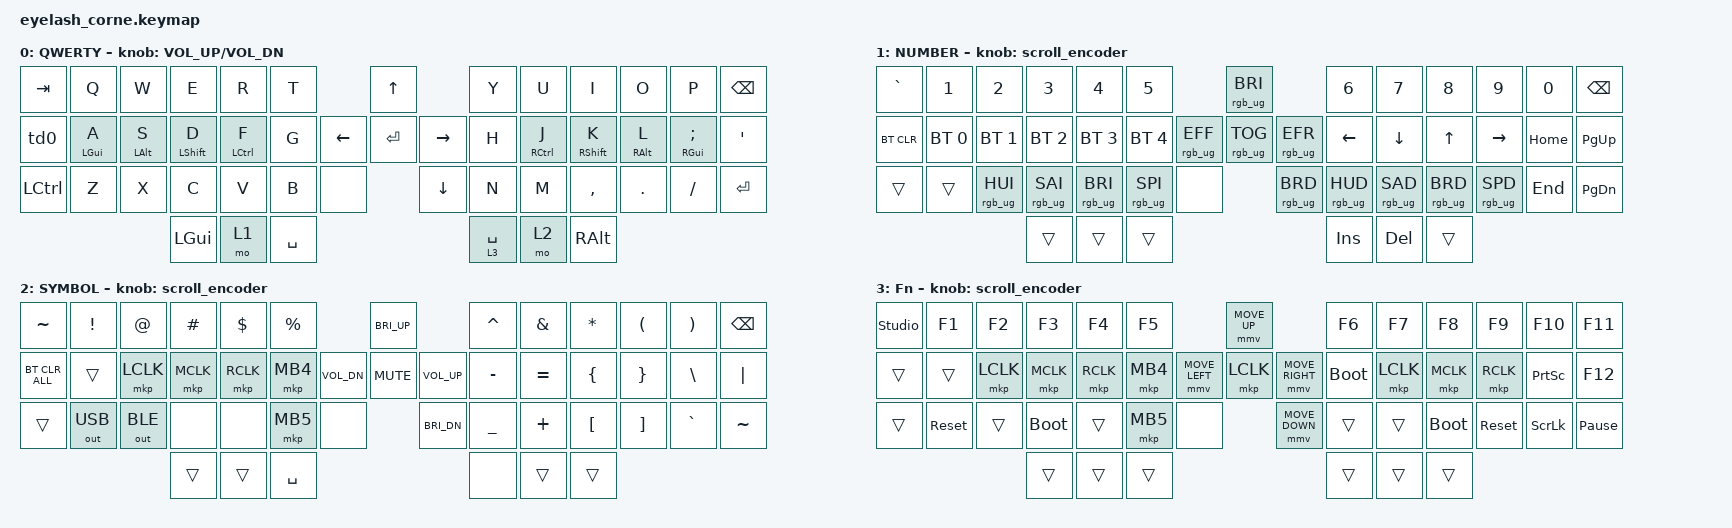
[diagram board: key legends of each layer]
#define ZMK_POINTING_DEFAULT_MOVE_VAL 1200  // 600
#define ZMK_POINTING_DEFAULT_SCRL_VAL 25   // 10

#include <input/processors.dtsi>
#include <zephyr/dt-bindings/input/input-event-codes.h>
#include <behaviors.dtsi>
#include <dt-bindings/zmk/bt.h>
#include <dt-bindings/zmk/keys.h>
#include <dt-bindings/zmk/outputs.h>
#include <dt-bindings/zmk/pointing.h>
#include <dt-bindings/zmk/rgb.h>

&mmv_input_listener { input-processors = <&zip_xy_scaler 2 1>; };

&msc_input_listener { input-processors = <&zip_scroll_scaler 2 1>; };

&msc {
    acceleration-exponent = <1>;      // 0
    time-to-max-speed-ms = <100>;       // 300
    delay-ms = <0>;                   // 0
};

&mmv {
    time-to-max-speed-ms = <500>;
    acceleration-exponent = <1>;
    trigger-period-ms = <16>;
};

&soft_off { hold-time-ms = <2000>; };

/ {
    behaviors {
        td0: td0 {
            compatible = "zmk,behavior-tap-dance";
            display-name = "Esc/Caps Lock Tap Dance";
            #binding-cells = <0>;
            bindings = <&kp ESC>, <&kp CAPS>;
        };
    };

    rgb_encoder: rgb_encoder {
        compatible = "zmk,behavior-sensor-rotate";
        #sensor-binding-cells = <0>;
        bindings = <&rgb_ug RGB_BRI>, <&rgb_ug RGB_BRD>;
    };

    scroll_encoder: scroll_encoder {
        compatible = "zmk,behavior-sensor-rotate";
        #sensor-binding-cells = <0>;
        bindings = <&msc SCRL_DOWN>, <&msc SCRL_UP>;

        tap-ms = <100>;
    };

    combos {
        compatible = "zmk,combos";

        softoff {
            bindings = <&soft_off>;
            key-positions = <1 15 29>;
        };
    };

    keymap {
        compatible = "zmk,keymap";

        default_layer {
            display-name = "QWERTY";
            bindings = <
&kp TAB    &kp Q  &kp W  &kp E     &kp R  &kp T                               &kp UP                &kp Y        &kp U  &kp I      &kp O    &kp P     &kp BSPC
&td0       &mt LGUI A  &mt LALT S  &mt LSHIFT D  &mt LCTRL F  &kp G                     &kp LEFT  &kp ENTER  &kp RIGHT  &kp H        &mt RCTRL J  &mt RSHIFT K  &mt RALT L  &mt RGUI SEMI  &kp SQT
&kp LCTRL  &kp Z  &kp X  &kp C     &kp V  &kp B        &none              &kp DOWN              &kp N        &kp M  &kp COMMA  &kp DOT  &kp FSLH  &kp ENTER
                         &kp LGUI  &mo 1  &kp SPACE                                               &lt 3 SPACE  &mo 2  &kp RALT
            >;

            sensor-bindings = <&inc_dec_kp C_VOLUME_UP C_VOL_DN>;
        };

        lower_layer {
            display-name = "NUMBER";
            bindings = <
&kp GRAVE  &kp N1           &kp N2          &kp N3        &kp N4        &kp N5                                         &rgb_ug RGB_BRI                     &kp N6           &kp N7           &kp N8           &kp N9           &kp N0    &kp BSPC
&bt BT_CLR  &bt BT_SEL 0   &bt BT_SEL 1    &bt BT_SEL 2  &bt BT_SEL 3  &bt BT_SEL 4                   &rgb_ug RGB_EFF  &rgb_ug RGB_TOG       &rgb_ug RGB_EFR  &kp LEFT         &kp DOWN         &kp UP           &kp RIGHT        &kp HOME  &kp PG_UP
&trans  &trans  &rgb_ug RGB_HUI  &rgb_ug RGB_SAI  &rgb_ug RGB_BRI  &rgb_ug RGB_SPI  &none                    &rgb_ug RGB_BRD                   &rgb_ug RGB_HUD  &rgb_ug RGB_SAD  &rgb_ug RGB_BRD  &rgb_ug RGB_SPD  &kp END   &kp PG_DN
                                         &trans        &trans        &trans                                                                          &kp INS          &kp DEL          &trans
            >;

            sensor-bindings = <&scroll_encoder>;
        };

        raise_layer {
            display-name = "SYMBOL";
            bindings = <
&kp TILDE  &kp EXCL      &kp AT        &kp HASH   &kp DLLR   &kp PRCNT                            &kp C_BRI_UP                     &kp CARET  &kp AMPS   &kp ASTRK  &kp LPAR  &kp RPAR  &kp BSPC
&bt BT_CLR_ALL  &trans    &mkp LCLK     &mkp MCLK  &mkp RCLK  &mkp MB4             &kp C_VOL_DN  &kp C_MUTE       &kp C_VOL_UP  &kp MINUS  &kp EQUAL  &kp LBRC   &kp RBRC &kp BSLH  &kp PIPE
&trans  &out OUT_USB  &out OUT_BLE  &none      &none      &mkp MB5   &none                    &kp C_BRI_DN                   &kp UNDER  &kp PLUS   &kp LBKT   &kp RBKT  &kp GRAVE  &kp TILDE
                                    &trans     &trans     &kp SPACE                                                             &none    &trans     &trans
            >;

            sensor-bindings = <&scroll_encoder>;
        };

        layer_3 {
            display-name = "Fn";
            bindings = <
&studio_unlock  &kp F1      &kp F2     &kp F3       &kp F4     &kp F5                                  &mmv MOVE_UP                     &kp F6       &kp F7     &kp F8       &kp F9      &kp F10          &kp F11
&trans          &trans      &mkp LCLK  &mkp MCLK    &mkp RCLK  &mkp MB4                &mmv MOVE_LEFT  &mkp LCLK       &mmv MOVE_RIGHT  &bootloader  &mkp LCLK  &mkp MCLK    &mkp RCLK   &kp PRINTSCREEN  &kp F12
&trans          &sys_reset  &trans     &bootloader  &trans     &mkp MB5  &none                    &mmv MOVE_DOWN                   &trans       &trans     &bootloader  &sys_reset  &kp SCROLLLOCK   &kp PAUSE_BREAK
                                       &trans       &trans     &trans                                                                   &trans       &trans     &trans
            >;

            sensor-bindings = <&scroll_encoder>;
        };
    };
};
